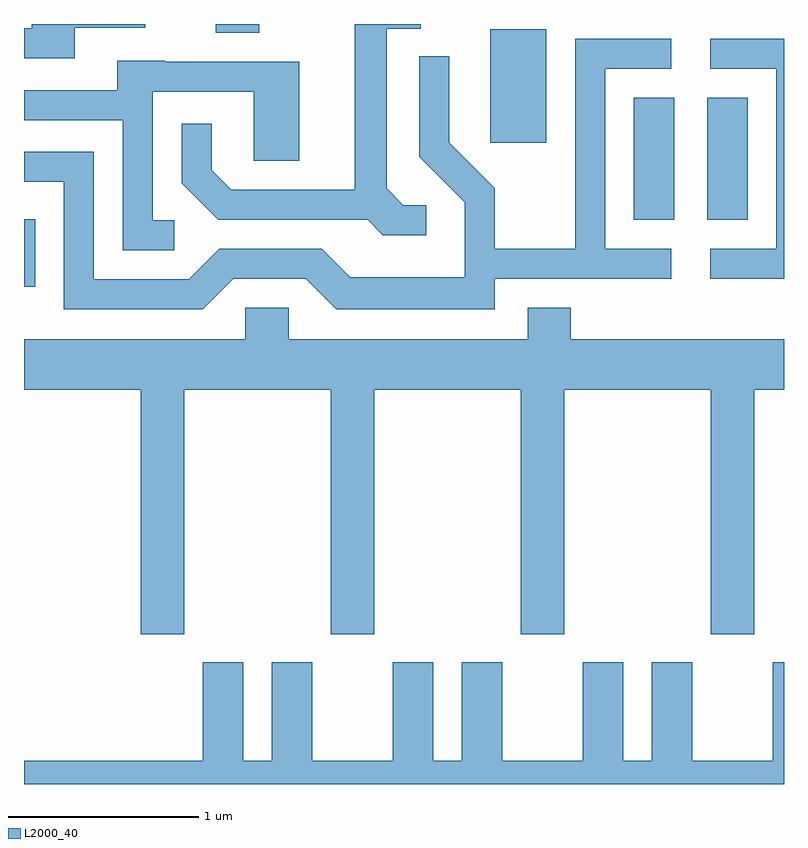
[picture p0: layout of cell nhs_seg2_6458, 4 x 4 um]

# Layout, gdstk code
import gdstk
lib = gdstk.Library(unit=1e-6, precision=1e-09)
def R(c, l, rs):  # rectangles x0, y0, x1, y1
    for r in rs: c.add(gdstk.rectangle(r[:2], r[2:], *l))
def P(c, l, *ps):  # polygons
    for p in ps: c.add(gdstk.Polygon(p, *l))
L2000_40 = (2000, 40)

nhs_seg2_6458 = lib.new_cell('nhs_seg2_6458')
R(nhs_seg2_6458, L2000_40, [(375.611,1044.418,375.669,1044.774), (378.821,1044.771,379.034,1045.414), (379.206,1044.771,379.419,1045.414), (378.066,1045.176,378.359,1045.774), (376.621,1045.756,376.849,1045.802)])
P(nhs_seg2_6458, L2000_40, [(377.728,1044.849),(377.607,1044.849),(377.519,1044.937),(377.519,1045.776),(377.698,1045.776),(377.698,1045.802),(377.351,1045.802),(377.351,1044.929),(376.702,1044.929),(376.599,1045.032),(376.599,1045.277),(376.441,1045.277),(376.441,1044.964),(376.634,1044.771),(377.419,1044.771),(377.499,1044.691),(377.728,1044.691)],
  [(375.879,1045.781),(376.248,1045.781),(376.248,1045.802),(375.651,1045.802),(375.651,1045.779),(375.611,1045.779),(375.611,1045.621),(375.879,1045.621)],
  [(376.712,1044.461),(377.094,1044.461),(377.254,1044.301),(378.089,1044.301),(378.089,1044.461),(379.018,1044.461),(379.018,1044.619),(378.669,1044.619),(378.669,1045.566),(379.018,1045.566),(379.018,1045.724),(378.511,1045.724),(378.511,1044.619),(378.089,1044.619),(378.089,1044.937),(377.849,1045.177),(377.849,1045.632),(377.691,1045.632),(377.691,1045.103),(377.931,1044.863),(377.931,1044.469),(377.327,1044.469),(377.177,1044.619),(376.639,1044.619),(376.479,1044.459),(375.979,1044.459),(375.979,1045.129),(375.611,1045.129),(375.611,1044.971),(375.821,1044.971),(375.821,1044.301),(376.552,1044.301)],
  [(379.611,1045.724),(379.223,1045.724),(379.223,1045.566),(379.571,1045.566),(379.571,1044.619),(379.223,1044.619),(379.223,1044.461),(379.611,1044.461)],
  [(376.403,1044.769),(376.289,1044.769),(376.289,1045.446),(376.821,1045.446),(376.821,1045.081),(377.059,1045.081),(377.059,1045.604),(376.355,1045.604),(376.355,1045.609),(376.101,1045.609),(376.101,1045.454),(375.611,1045.454),(375.611,1045.296),(376.131,1045.296),(376.131,1044.611),(376.403,1044.611)],
  [(376.454,1043.876),(377.226,1043.876),(377.226,1042.591),(377.454,1042.591),(377.454,1043.876),(378.226,1043.876),(378.226,1042.591),(378.454,1042.591),(378.454,1043.876),(379.226,1043.876),(379.226,1042.591),(379.454,1042.591),(379.454,1043.876),(379.611,1043.876),(379.611,1044.144),(378.489,1044.144),(378.489,1044.309),(378.261,1044.309),(378.261,1044.144),(377.004,1044.144),(377.004,1044.309),(376.776,1044.309),(376.776,1044.144),(375.611,1044.144),(375.611,1043.876),(376.226,1043.876),(376.226,1042.591),(376.454,1042.591)],
  [(379.611,1042.444),(379.551,1042.444),(379.551,1041.924),(379.129,1041.924),(379.129,1042.444),(378.916,1042.444),(378.916,1041.924),(378.764,1041.924),(378.764,1042.444),(378.551,1042.444),(378.551,1041.924),(378.129,1041.924),(378.129,1042.444),(377.916,1042.444),(377.916,1041.924),(377.764,1041.924),(377.764,1042.444),(377.551,1042.444),(377.551,1041.924),(377.129,1041.924),(377.129,1042.444),(376.916,1042.444),(376.916,1041.924),(376.764,1041.924),(376.764,1042.444),(376.551,1042.444),(376.551,1041.924),(375.611,1041.924),(375.611,1041.802),(379.611,1041.802)])

lib.write_gds('nhs_seg2_6458.gds')
